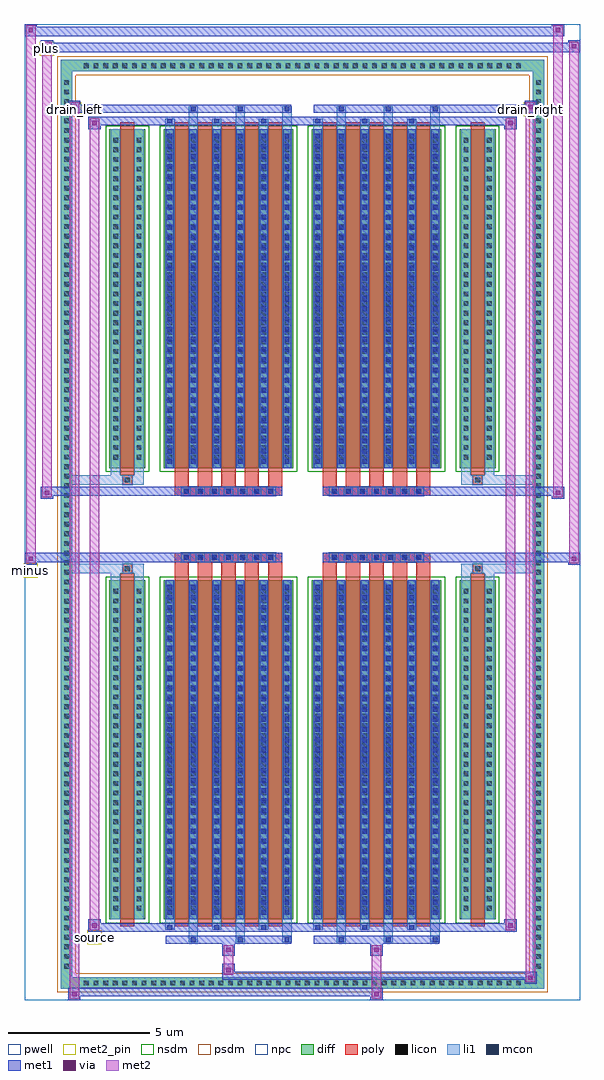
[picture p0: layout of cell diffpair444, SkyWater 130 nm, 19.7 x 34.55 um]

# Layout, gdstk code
import gdstk
lib = gdstk.Library(unit=1e-6, precision=5e-09)
def R(c, l, rs):  # rectangles x0, y0, x1, y1
    for r in rs: c.add(gdstk.rectangle(r[:2], r[2:], *l))
def A(c, l, x, y, w, h, nx, ny, dx, dy):  # array of equal rectangles
    R(c, l, [(x+i*dx, y+j*dy, x+i*dx+w, y+j*dy+h) for i in range(nx) for j in range(ny)])
def P(c, l, *ps):  # polygons
    for p in ps: c.add(gdstk.Polygon(p, *l))
pwell = (64, 44)
diff = (65, 20)
poly = (66, 20)
licon = (66, 44)
li1 = (67, 20)
mcon = (67, 44)
met1 = (68, 20)
via = (68, 44)
met2_pin = (69, 16)
met2 = (69, 20)
nsdm = (93, 44)
psdm = (94, 20)
npc = (95, 20)

diffpair444 = lib.new_cell('diffpair444')
R(diffpair444, pwell, [(-9.83,-16.84,9.83,17.71), (-7.15,-15.03,-0.01,-0.805), (0.01,-15.03,7.15,-0.805), (-7.15,0.805,-0.01,15.03), (0.01,0.805,7.15,15.03)])
A(diffpair444, diff, -7.855, -16.44, 0.41, 0.41, 46, 2, 0.34, 32.47)
A(diffpair444, diff, -8.56, -15.845, 0.41, 0.41, 1, 93, 0, 0.34)
A(diffpair444, diff, 8.15, -15.845, 0.41, 0.41, 1, 93, 0, 0.34)
R(diffpair444, diff, [(-7.855,-16.44,7.855,-16.03), (-8.56,-15.845,-8.15,15.845), (8.15,-15.845,8.56,15.845), (-6.84,-13.985,-5.56,-1.985), (-4.92,-13.985,-0.32,-1.985), (0.32,-13.985,4.92,-1.985), (5.56,-13.985,6.84,-1.985), (-6.84,1.985,-5.56,13.985), (-4.92,1.985,-0.32,13.985), (0.32,1.985,4.92,13.985), (5.56,1.985,6.84,13.985), (-7.855,16.03,7.855,16.44)])
P(diffpair444, diff, [(8.56,16.44),(-8.56,16.44),(-8.56,-16.03),(-8.15,-16.03),(-8.15,16.03),(8.15,16.03),(8.15,-16.03),(-8.15,-16.03),(-8.56,-16.03),(-8.56,-16.44),(8.56,-16.44)])
A(diffpair444, poly, -4.53, -14.235, 0.5, 12.5, 5, 2, 0.83, 15.97)
A(diffpair444, poly, 0.71, -14.235, 0.5, 12.5, 5, 2, 0.83, 15.97)
A(diffpair444, poly, -4.53, -1.735, 0.5, 0.4, 5, 2, 0.83, 3.07)
A(diffpair444, poly, 0.71, -1.735, 0.5, 0.4, 5, 2, 0.83, 3.07)
A(diffpair444, poly, -4.285, -1.335, 0.33, 0.33, 7, 2, 0.5, 2.34)
A(diffpair444, poly, 0.955, -1.335, 0.33, 0.33, 7, 2, 0.5, 2.34)
R(diffpair444, poly, [(-6.45,-14.235,-5.95,-1.735), (5.95,-14.235,6.45,-1.735), (-6.365,-1.735,-6.035,-1.405), (-6.365,-1.735,-6.035,-1.405), (6.035,-1.735,6.365,-1.405), (6.035,-1.735,6.365,-1.405), (-4.53,-1.335,-0.71,-1.005), (0.71,-1.335,4.53,-1.005), (-4.53,1.005,-0.71,1.335), (0.71,1.005,4.53,1.335), (-6.365,1.405,-6.035,1.735), (-6.365,1.405,-6.035,1.735), (6.035,1.405,6.365,1.735), (6.035,1.405,6.365,1.735), (-6.45,1.735,-5.95,14.235), (5.95,1.735,6.45,14.235)])
A(diffpair444, licon, -7.735, -16.32, 0.17, 0.17, 46, 2, 0.34, 32.47)
A(diffpair444, licon, -8.44, -15.725, 0.17, 0.17, 1, 93, 0, 0.34)
A(diffpair444, licon, 8.27, -15.725, 0.17, 0.17, 1, 93, 0, 0.34)
A(diffpair444, licon, -6.7, -13.68, 0.17, 0.17, 1, 34, 0, 0.34)
A(diffpair444, licon, -5.87, -13.68, 0.17, 0.17, 1, 34, 0, 0.34)
A(diffpair444, licon, -4.78, -13.68, 0.17, 0.17, 6, 34, 0.83, 0.34)
A(diffpair444, licon, 0.46, -13.68, 0.17, 0.17, 6, 34, 0.83, 0.34)
A(diffpair444, licon, 5.7, -13.68, 0.17, 0.17, 1, 34, 0, 0.34)
A(diffpair444, licon, 6.53, -13.68, 0.17, 0.17, 1, 34, 0, 0.34)
A(diffpair444, licon, -4.205, -1.255, 0.17, 0.17, 7, 2, 0.5, 2.34)
A(diffpair444, licon, 1.035, -1.255, 0.17, 0.17, 7, 2, 0.5, 2.34)
A(diffpair444, licon, -6.7, 2.29, 0.17, 0.17, 1, 34, 0, 0.34)
A(diffpair444, licon, -5.87, 2.29, 0.17, 0.17, 1, 34, 0, 0.34)
A(diffpair444, licon, -4.78, 2.29, 0.17, 0.17, 6, 34, 0.83, 0.34)
A(diffpair444, licon, 0.46, 2.29, 0.17, 0.17, 6, 34, 0.83, 0.34)
A(diffpair444, licon, 5.7, 2.29, 0.17, 0.17, 1, 34, 0, 0.34)
A(diffpair444, licon, 6.53, 2.29, 0.17, 0.17, 1, 34, 0, 0.34)
R(diffpair444, licon, [(-6.285,-1.655,-6.115,-1.485), (6.115,-1.655,6.285,-1.485), (-6.285,1.485,-6.115,1.655), (6.115,1.485,6.285,1.655)])
A(diffpair444, li1, -7.815, -16.4, 0.33, 0.33, 46, 2, 0.34, 32.47)
A(diffpair444, li1, -8.52, -15.805, 0.33, 0.33, 1, 93, 0, 0.34)
A(diffpair444, li1, 8.19, -15.805, 0.33, 0.33, 1, 93, 0, 0.34)
A(diffpair444, li1, -4.03, -14.79, 0.33, 0.805, 3, 2, 1.66, 28.775)
A(diffpair444, li1, -3.95, -14.79, 0.17, 0.17, 3, 2, 1.66, 29.41)
A(diffpair444, li1, 1.21, -14.79, 0.33, 0.805, 3, 2, 1.66, 28.775)
A(diffpair444, li1, 1.29, -14.79, 0.17, 0.17, 3, 2, 1.66, 29.41)
A(diffpair444, li1, -4.86, -14.36, 0.33, 0.375, 3, 2, 1.66, 28.345)
A(diffpair444, li1, -4.78, -14.36, 0.17, 0.17, 3, 2, 1.66, 28.55)
A(diffpair444, li1, 0.38, -14.36, 0.33, 0.375, 3, 2, 1.66, 28.345)
A(diffpair444, li1, 0.46, -14.36, 0.17, 0.17, 3, 2, 1.66, 28.55)
A(diffpair444, li1, -4.86, -13.985, 0.33, 12, 6, 2, 0.83, 15.97)
A(diffpair444, li1, 0.38, -13.985, 0.33, 12, 6, 2, 0.83, 15.97)
A(diffpair444, li1, -4.78, -13.83, 0.17, 0.17, 6, 33, 0.83, 0.36)
A(diffpair444, li1, -4.78, -13.83, 0.17, 11.69, 6, 2, 0.83, 15.97)
A(diffpair444, li1, 0.46, -13.83, 0.17, 0.17, 6, 33, 0.83, 0.36)
A(diffpair444, li1, 0.46, -13.83, 0.17, 11.69, 6, 2, 0.83, 15.97)
A(diffpair444, li1, -6.78, -13.76, 0.33, 0.33, 1, 34, 0, 0.34)
A(diffpair444, li1, -5.95, -13.76, 0.33, 0.33, 1, 34, 0, 0.34)
A(diffpair444, li1, -4.86, -13.76, 0.33, 0.33, 6, 34, 0.83, 0.34)
A(diffpair444, li1, 0.38, -13.76, 0.33, 0.33, 6, 34, 0.83, 0.34)
A(diffpair444, li1, 5.62, -13.76, 0.33, 0.33, 1, 34, 0, 0.34)
A(diffpair444, li1, 6.45, -13.76, 0.33, 0.33, 1, 34, 0, 0.34)
A(diffpair444, li1, -4.285, -1.335, 0.33, 0.33, 7, 2, 0.5, 2.34)
A(diffpair444, li1, 0.955, -1.335, 0.33, 0.33, 7, 2, 0.5, 2.34)
A(diffpair444, li1, -4.78, 2.14, 0.17, 0.17, 6, 33, 0.83, 0.36)
A(diffpair444, li1, 0.46, 2.14, 0.17, 0.17, 6, 33, 0.83, 0.36)
A(diffpair444, li1, -6.78, 2.21, 0.33, 0.33, 1, 34, 0, 0.34)
A(diffpair444, li1, -5.95, 2.21, 0.33, 0.33, 1, 34, 0, 0.34)
A(diffpair444, li1, -4.86, 2.21, 0.33, 0.33, 6, 34, 0.83, 0.34)
A(diffpair444, li1, 0.38, 2.21, 0.33, 0.33, 6, 34, 0.83, 0.34)
A(diffpair444, li1, 5.62, 2.21, 0.33, 0.33, 1, 34, 0, 0.34)
A(diffpair444, li1, 6.45, 2.21, 0.33, 0.33, 1, 34, 0, 0.34)
R(diffpair444, li1, [(-8.56,-16.44,-8.15,-16.03), (-8.56,-16.44,-8.15,-16.03), (-8.15,-16.44,8.15,-16.03), (8.15,-16.44,8.56,-16.03), (8.15,-16.44,8.56,-16.03), (-8.56,-16.03,-8.15,16.03), (8.15,-16.03,8.56,16.03), (-6.78,-13.985,-6.45,-1.985), (-5.95,-13.985,-5.62,-1.985), (5.62,-13.985,5.95,-1.985), (6.45,-13.985,6.78,-1.985), (-6.78,-1.985,-6.45,-1.405), (-5.95,-1.985,-5.62,-1.405), (5.62,-1.985,5.95,-1.405), (6.45,-1.985,6.78,-1.405), (-8.56,-1.735,-6.365,-1.405), (-6.78,-1.735,-6.365,-1.405), (-6.365,-1.735,-6.035,-1.405), (-6.035,-1.735,-5.62,-1.405), (5.62,-1.735,6.035,-1.405), (6.035,-1.735,6.365,-1.405), (6.035,-1.735,8.56,-1.405), (6.365,-1.735,6.78,-1.405), (-8.56,1.405,-6.365,1.735), (-6.78,1.405,-6.365,1.735), (-6.78,1.405,-6.45,1.985), (-6.365,1.405,-6.035,1.735), (-6.035,1.405,-5.62,1.735), (-5.95,1.405,-5.62,1.985), (5.62,1.405,6.035,1.735), (5.62,1.405,5.95,1.985), (6.035,1.405,6.365,1.735), (6.035,1.405,8.56,1.735), (6.365,1.405,6.78,1.735), (6.45,1.405,6.78,1.985), (-6.78,1.985,-6.45,13.985), (-5.95,1.985,-5.62,13.985), (5.62,1.985,5.95,13.985), (6.45,1.985,6.78,13.985), (-8.56,16.03,-8.15,16.44), (-8.56,16.03,-8.15,16.44), (-8.15,16.03,8.15,16.44), (8.15,16.03,8.56,16.44), (8.15,16.03,8.56,16.44)])
A(diffpair444, mcon, -3.95, -14.79, 0.17, 0.17, 3, 2, 1.66, 29.41)
A(diffpair444, mcon, 1.29, -14.79, 0.17, 0.17, 3, 2, 1.66, 29.41)
A(diffpair444, mcon, -4.78, -14.36, 0.17, 0.17, 3, 2, 1.66, 28.55)
A(diffpair444, mcon, 0.46, -14.36, 0.17, 0.17, 3, 2, 1.66, 28.55)
A(diffpair444, mcon, -4.78, -13.83, 0.17, 0.17, 6, 33, 0.83, 0.36)
A(diffpair444, mcon, 0.46, -13.83, 0.17, 0.17, 6, 33, 0.83, 0.36)
A(diffpair444, mcon, -4.205, -1.255, 0.17, 0.17, 7, 2, 0.5, 2.34)
A(diffpair444, mcon, 1.035, -1.255, 0.17, 0.17, 7, 2, 0.5, 2.34)
A(diffpair444, mcon, -4.78, 2.14, 0.17, 0.17, 6, 33, 0.83, 0.36)
A(diffpair444, mcon, 0.46, 2.14, 0.17, 0.17, 6, 33, 0.83, 0.36)
A(diffpair444, met1, -4.01, -14.85, 0.29, 0.29, 3, 2, 1.66, 29.41)
A(diffpair444, met1, 1.23, -14.85, 0.29, 0.29, 3, 2, 1.66, 29.41)
A(diffpair444, met1, -4.84, -14.42, 0.29, 0.29, 3, 2, 1.66, 28.55)
A(diffpair444, met1, 0.4, -14.42, 0.29, 0.29, 3, 2, 1.66, 28.55)
A(diffpair444, met1, -4.84, -13.985, 0.29, 12, 6, 2, 0.83, 15.97)
A(diffpair444, met1, 0.4, -13.985, 0.29, 12, 6, 2, 0.83, 15.97)
A(diffpair444, met1, -4.84, -13.89, 0.29, 0.29, 6, 33, 0.83, 0.36)
A(diffpair444, met1, 0.4, -13.89, 0.29, 0.29, 6, 33, 0.83, 0.36)
A(diffpair444, met1, -4.265, -1.315, 0.29, 0.29, 7, 2, 0.5, 2.34)
A(diffpair444, met1, 0.975, -1.315, 0.29, 0.29, 7, 2, 0.5, 2.34)
A(diffpair444, met1, -4.84, 2.08, 0.29, 0.29, 6, 33, 0.83, 0.36)
A(diffpair444, met1, 0.4, 2.08, 0.29, 0.29, 6, 33, 0.83, 0.36)
R(diffpair444, met1, [(-8.29,-16.84,-7.86,-16.41), (2.405,-16.84,2.835,-16.41), (-8.29,-16.7,2.835,-16.41), (7.86,-16.27,8.29,-15.84), (-2.835,-16.13,8.29,-15.84), (-2.835,-15.99,-2.405,-15.56), (-2.835,-15.28,-2.405,-14.85), (2.405,-15.28,2.835,-14.85), (-4.84,-14.85,-0.4,-14.56), (0.4,-14.85,4.84,-14.56), (-7.58,-14.42,-7.15,-13.99), (-7.58,-14.42,-4.84,-14.13), (-4.84,-14.42,-0.4,-14.13), (-0.4,-14.42,0.4,-14.13), (0.4,-14.42,4.84,-14.13), (4.84,-14.42,7.58,-14.13), (7.15,-14.42,7.58,-13.99), (-9.83,-1.435,-9.4,-1.005), (9.4,-1.435,9.83,-1.005), (-9.83,-1.335,-0.71,-1.005), (-4.53,-1.335,-0.71,-1.005), (0.71,-1.335,4.53,-1.005), (0.71,-1.335,9.83,-1.005), (-9.26,0.905,-8.83,1.335), (8.83,0.905,9.26,1.335), (-9.26,1.005,-4.53,1.335), (-4.53,1.005,-0.71,1.335), (0.71,1.005,4.53,1.335), (4.53,1.005,9.26,1.335), (-7.58,13.99,-7.15,14.42), (7.15,13.99,7.58,14.42), (-7.58,14.13,-4.84,14.42), (-4.84,14.13,-0.4,14.42), (-0.4,14.13,0.4,14.42), (0.4,14.13,4.84,14.42), (4.84,14.13,7.58,14.42), (-8.29,14.56,-7.86,14.99), (-8.29,14.56,-4.84,14.85), (-4.84,14.56,-0.4,14.85), (0.4,14.56,4.84,14.85), (4.84,14.56,8.29,14.85), (7.86,14.56,8.29,14.99), (-9.26,16.71,-8.83,17.14), (-9.26,16.71,-7.15,17.04), (-7.15,16.71,7.15,17.04), (7.15,16.71,9.83,17.04), (9.4,16.71,9.83,17.14), (-9.83,17.28,-9.4,17.71), (-9.83,17.28,-7.15,17.61), (-7.15,17.28,7.15,17.61), (7.15,17.28,9.26,17.61), (8.83,17.28,9.26,17.71)])
R(diffpair444, via, [(-8.15,-16.7,-8,-16.55), (2.545,-16.7,2.695,-16.55), (8,-16.13,8.15,-15.98), (-2.695,-15.85,-2.545,-15.7), (-2.695,-15.14,-2.545,-14.99), (2.545,-15.14,2.695,-14.99), (-7.44,-14.28,-7.29,-14.13), (7.29,-14.28,7.44,-14.13), (-9.69,-1.295,-9.54,-1.145), (9.54,-1.295,9.69,-1.145), (-9.12,1.045,-8.97,1.195), (8.97,1.045,9.12,1.195), (-7.44,14.13,-7.29,14.28), (7.29,14.13,7.44,14.28), (-8.15,14.7,-8,14.85), (8,14.7,8.15,14.85), (-9.12,16.85,-8.97,17), (9.54,16.85,9.69,17), (-9.69,17.42,-9.54,17.57), (8.97,17.42,9.12,17.57)])
R(diffpair444, met2_pin, [(-7.615,-14.87,-7.115,-14.37), (-9.865,-1.885,-9.365,-1.385), (-8.325,14.44,-7.825,14.94), (7.825,14.44,8.325,14.94), (-9.295,16.59,-8.795,17.09)])
R(diffpair444, met2, [(-8.24,-16.79,-7.91,-16.46), (-8.24,-16.79,-7.91,14.94), (2.455,-16.79,2.785,-16.46), (2.455,-16.46,2.785,-15.23), (7.91,-16.22,8.24,-15.89), (7.91,-16.22,8.24,14.94), (-2.785,-15.94,-2.455,-15.61), (-2.785,-15.61,-2.455,-15.23), (-2.785,-15.23,-2.455,-14.9), (2.455,-15.23,2.785,-14.9), (-7.53,-14.37,-7.2,-14.04), (-7.53,-14.37,-7.2,14.37), (7.2,-14.37,7.53,-14.04), (7.2,-14.37,7.53,14.37), (-9.78,-1.385,-9.45,-1.055), (-9.78,-1.385,-9.45,17.66), (9.45,-1.385,9.78,-1.055), (9.45,-1.385,9.78,17.09), (-9.21,0.955,-8.88,1.285), (-9.21,0.955,-8.88,17.09), (8.88,0.955,9.21,1.285), (8.88,0.955,9.21,17.66), (-7.53,14.04,-7.2,14.37), (7.2,14.04,7.53,14.37), (-8.24,14.61,-7.91,14.94), (7.91,14.61,8.24,14.94), (-9.21,16.76,-8.88,17.09), (9.45,16.76,9.78,17.09), (-9.78,17.33,-9.45,17.66), (8.88,17.33,9.21,17.66)])
P(diffpair444, met2, [(9.78,-1.385),(9.78,-1.385),(9.78,-1.055),(9.78,-1.055)],
  [(9.78,16.76),(9.78,16.76),(9.78,17.09),(9.78,17.09)],
  [(-9.45,-1.385),(-9.45,-1.385),(-9.45,-1.055),(-9.45,-1.055)],
  [(-9.45,17.33),(-9.45,17.33),(-9.45,17.66),(-9.45,17.66)],
  [(9.21,0.955),(9.21,0.955),(9.21,1.285),(9.21,1.285)],
  [(9.21,17.33),(9.21,17.33),(9.21,17.66),(9.21,17.66)],
  [(-8.88,0.955),(-8.88,0.955),(-8.88,1.285),(-8.88,1.285)],
  [(-8.88,16.76),(-8.88,16.76),(-8.88,17.09),(-8.88,17.09)],
  [(-7.91,-16.79),(-7.91,-16.79),(-7.91,-16.46),(-7.91,-16.46)],
  [(-7.91,14.61),(-7.91,14.61),(-7.91,14.94),(-7.91,14.94)],
  [(8.24,-16.22),(8.24,-16.22),(8.24,-15.89),(8.24,-15.89)],
  [(8.24,14.61),(8.24,14.61),(8.24,14.94),(8.24,14.94)],
  [(-7.2,-14.37),(-7.2,-14.37),(-7.2,-14.04),(-7.2,-14.04)],
  [(-7.2,14.04),(-7.2,14.04),(-7.2,14.37),(-7.2,14.37)],
  [(7.53,-14.37),(7.53,-14.37),(7.53,-14.04),(7.53,-14.04)],
  [(7.53,14.04),(7.53,14.04),(7.53,14.37),(7.53,14.37)])
R(diffpair444, nsdm, [(-6.97,-14.115,-5.43,-1.855), (-5.05,-14.115,-0.19,-1.855), (0.19,-14.115,5.05,-1.855), (5.43,-14.115,6.97,-1.855), (-6.97,1.855,-5.43,14.115), (-5.05,1.855,-0.19,14.115), (0.19,1.855,5.05,14.115), (5.43,1.855,6.97,14.115)])
P(diffpair444, psdm, [(8.69,16.57),(-8.69,16.57),(-8.69,-15.9),(-8.02,-15.9),(-8.02,15.9),(8.02,15.9),(8.02,-15.9),(-8.02,-15.9),(-8.69,-15.9),(-8.69,-16.57),(8.69,-16.57)])
A(diffpair444, npc, -4.305, -1.355, 0.37, 0.37, 7, 2, 0.5, 2.34)
A(diffpair444, npc, 0.935, -1.355, 0.37, 0.37, 7, 2, 0.5, 2.34)
R(diffpair444, npc, [(-6.385,-1.755,-6.015,-1.385), (6.015,-1.755,6.385,-1.385), (-4.305,-1.355,-3.435,-0.985), (-4.305,-1.355,-3.435,-0.985), (-3.805,-1.355,-2.935,-0.985), (-3.805,-1.355,-2.935,-0.985), (-3.305,-1.355,-2.435,-0.985), (-3.305,-1.355,-2.435,-0.985), (-2.805,-1.355,-1.935,-0.985), (-2.805,-1.355,-1.935,-0.985), (-2.305,-1.355,-1.435,-0.985), (-2.305,-1.355,-1.435,-0.985), (-1.805,-1.355,-0.935,-0.985), (-1.805,-1.355,-0.935,-0.985), (0.935,-1.355,1.805,-0.985), (0.935,-1.355,1.805,-0.985), (1.435,-1.355,2.305,-0.985), (1.435,-1.355,2.305,-0.985), (1.935,-1.355,2.805,-0.985), (1.935,-1.355,2.805,-0.985), (2.435,-1.355,3.305,-0.985), (2.435,-1.355,3.305,-0.985), (2.935,-1.355,3.805,-0.985), (2.935,-1.355,3.805,-0.985), (3.435,-1.355,4.305,-0.985), (3.435,-1.355,4.305,-0.985), (-4.305,0.985,-3.435,1.355), (-4.305,0.985,-3.435,1.355), (-3.805,0.985,-2.935,1.355), (-3.805,0.985,-2.935,1.355), (-3.305,0.985,-2.435,1.355), (-3.305,0.985,-2.435,1.355), (-2.805,0.985,-1.935,1.355), (-2.805,0.985,-1.935,1.355), (-2.305,0.985,-1.435,1.355), (-2.305,0.985,-1.435,1.355), (-1.805,0.985,-0.935,1.355), (-1.805,0.985,-0.935,1.355), (0.935,0.985,1.805,1.355), (0.935,0.985,1.805,1.355), (1.435,0.985,2.305,1.355), (1.435,0.985,2.305,1.355), (1.935,0.985,2.805,1.355), (1.935,0.985,2.805,1.355), (2.435,0.985,3.305,1.355), (2.435,0.985,3.305,1.355), (2.935,0.985,3.805,1.355), (2.935,0.985,3.805,1.355), (3.435,0.985,4.305,1.355), (3.435,0.985,4.305,1.355), (-6.385,1.385,-6.015,1.755), (6.015,1.385,6.385,1.755)])
diffpair444.add(gdstk.Label('minus', (-9.615,-1.635), layer=69, texttype=5))
diffpair444.add(gdstk.Label('drain_right', (8.075,14.69), layer=69, texttype=5))
diffpair444.add(gdstk.Label('drain_left', (-8.075,14.69), layer=69, texttype=5))
diffpair444.add(gdstk.Label('source', (-7.365,-14.62), layer=69, texttype=5))
diffpair444.add(gdstk.Label('plus', (-9.045,16.84), layer=69, texttype=5))

lib.write_gds('diffpair444.gds')
